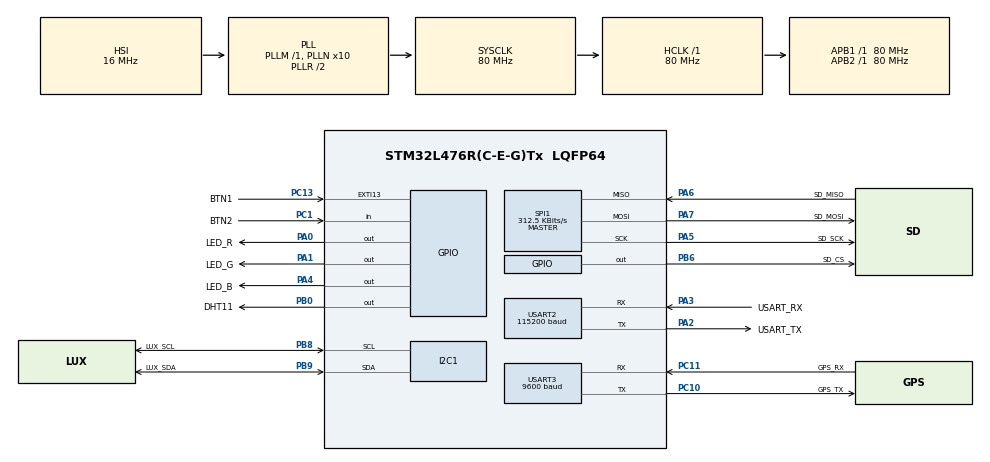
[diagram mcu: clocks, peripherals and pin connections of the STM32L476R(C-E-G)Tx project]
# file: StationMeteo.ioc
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I2C1.Timing=0x10909CEC
Mcu.Family=STM32L4
Mcu.Name=STM32L476R(C-E-G)Tx
Mcu.Package=LQFP64
NVIC.EXTI15_10_IRQn=true\:0\:0\:false\:false\:true\:true\:true\:true
NVIC.PriorityGroup=NVIC_PRIORITYGROUP_4
NVIC.USART3_IRQn=true\:0\:0\:false\:false\:true\:true\:true\:true
PA0.GPIO_Label=LED_R
PA0.PinState=GPIO_PIN_RESET
PA0.Signal=GPIO_Output
PA1.GPIO_Label=LED_G
PA1.PinState=GPIO_PIN_RESET
PA1.Signal=GPIO_Output
PA13\ (JTMS-SWDIO).Mode=Serial_Wire
PA13\ (JTMS-SWDIO).Signal=SYS_JTMS-SWDIO
PA14\ (JTCK-SWCLK).Mode=Serial_Wire
PA14\ (JTCK-SWCLK).Signal=SYS_JTCK-SWCLK
PA2.GPIO_Label=USART_TX
PA2.Mode=Asynchronous
PA2.Signal=USART2_TX
PA3.GPIO_Label=USART_RX
PA3.Mode=Asynchronous
PA3.Signal=USART2_RX
PC1.GPIO_Label=BTN2
PC1.GPIO_PuPd=GPIO_PULLUP
PC1.Signal=GPIO_Input
PA4.GPIO_Label=LED_B
PA4.PinState=GPIO_PIN_RESET
PA4.Signal=GPIO_Output
PA5.GPIO_Label=SD_SCK
PA5.Mode=Full_Duplex_Master
PA5.Signal=SPI1_SCK
PA6.GPIO_Label=SD_MISO
PA6.Mode=Full_Duplex_Master
PA6.Signal=SPI1_MISO
PA7.GPIO_Label=SD_MOSI
PA7.Mode=Full_Duplex_Master
PA7.Signal=SPI1_MOSI
PB0.GPIO_Label=DHT11
PB0.GPIO_PuPd=GPIO_NOPULL
PB0.GPIO_Speed=GPIO_SPEED_FREQ_HIGH
PB0.Signal=GPIO_Output
PB6.GPIO_Label=SD_CS
PB6.GPIO_Speed=GPIO_SPEED_FREQ_HIGH
PB6.PinState=GPIO_PIN_SET
PB6.Signal=GPIO_Output
PB8.GPIO_Label=LUX_SCL
PB8.Mode=I2C
PB8.Signal=I2C1_SCL
PB9.GPIO_Label=LUX_SDA
PB9.Mode=I2C
PB9.Signal=I2C1_SDA
PC10.GPIO_Label=GPS_TX
PC10.Mode=Asynchronous
PC10.Signal=USART3_TX
PC11.GPIO_Label=GPS_RX
PC11.Mode=Asynchronous
PC11.Signal=USART3_RX
PC13.GPIO_Label=BTN1
PC13.GPIO_ModeDefaultEXTI=GPIO_MODE_IT_FALLING
PC13.GPIO_PuPd=GPIO_PULLUP
PC13.Signal=GPXTI13
PC14-OSC32_IN\ (PC14).Mode=LSE-External-Oscillator
PC14-OSC32_IN\ (PC14).Signal=RCC_OSC32_IN
PC15-OSC32_OUT\ (PC15).Mode=LSE-External-Oscillator
PC15-OSC32_OUT\ (PC15).Signal=RCC_OSC32_OUT
ProjectManager.HeapSize=0x200
ProjectManager.StackSize=0x400
ProjectManager.TargetToolchain=CMake
RCC.ADCFreq_Value=64000000
RCC.AHBFreq_Value=80000000
RCC.APB1Freq_Value=80000000
RCC.APB1TimFreq_Value=80000000
RCC.APB2Freq_Value=80000000
RCC.APB2TimFreq_Value=80000000
RCC.CortexFreq_Value=80000000
RCC.HCLKFreq_Value=80000000
RCC.HSE_VALUE=8000000
RCC.HSI_VALUE=16000000
RCC.MSI_VALUE=4000000
RCC.PLLN=10
RCC.PLLSourceVirtual=RCC_PLLSOURCE_HSI
RCC.RTCClockSelection=RCC_RTCCLKSOURCE_LSE
RCC.SYSCLKFreq_VALUE=80000000
RCC.SYSCLKSource=RCC_SYSCLKSOURCE_PLLCLK
RCC.USBFreq_Value=64000000
RCC.VCOOutputFreq_Value=160000000
RTC.Format=RTC_FORMAT_BIN
SPI1.BaudRatePrescaler=SPI_BAUDRATEPRESCALER_256
SPI1.CalculateBaudRate=312.5 KBits/s
SPI1.DataSize=SPI_DATASIZE_8BIT
SPI1.Direction=SPI_DIRECTION_2LINES
SPI1.Mode=SPI_MODE_MASTER
SPI1.VirtualType=VM_MASTER
USART2.BaudRate=115200
USART2.VirtualMode-Asynchronous=VM_ASYNC
USART3.BaudRate=9600
USART3.Parity=PARITY_NONE
USART3.StopBits=STOPBITS_1
USART3.VirtualMode-Asynchronous=VM_ASYNC
USART3.WordLength=WORDLENGTH_8B
VP_FATFS_VS_Generic.Mode=User_defined
VP_RTC_VS_RTC_Activate.Mode=RTC_Enabled
VP_RTC_VS_RTC_Calendar.Mode=RTC_Calendar
board=custom

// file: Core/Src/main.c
/* USER CODE BEGIN Header */
/**
  ******************************************************************************
  * @file           : main.c
  * @brief          : Main program body
  ******************************************************************************
  * @attention
  *
  * Copyright (c) 2026 STMicroelectronics.
  * All rights reserved.
  *
  * This software is licensed under terms that can be found in the LICENSE file
  * in the root directory of this software component.
  * If no LICENSE file comes with this software, it is provided AS-IS.
  *
  ******************************************************************************
  */
/* USER CODE END Header */
#include "main.h"
#include "fatfs.h"

/* USER CODE BEGIN Includes */
#include "led_modes.h"
#include "test_composants.h"

/* USER CODE END Includes */

/* USER CODE BEGIN PD */
/* 1 = test du Serial Monitor (TP 1), 0 = fonctionnement normal (4 modes) */
#define TEST_SERIAL_MONITEUR 0
/* 1 = test du capteur DHT11 sur PB0 (TP 4), 0 = fonctionnement normal */
#define TEST_DHT11 0
/* 1 = test du RTC interne (TP 5), 0 = fonctionnement normal */
#define TEST_RTC 0
/* 1 = test du capteur de luminosité BH1750 en I2C (TP 6), 0 = fonctionnement normal */
#define TEST_BH1750 0
/* 1 = test de la carte SD en SPI + FatFS (TP 7), 0 = fonctionnement normal */
#define TEST_SD 0
/* 1 = test du module GPS sur USART1 D8/D2 (TP 8), 0 = fonctionnement normal */
#define TEST_GPS 0
/* USER CODE END PD */

I2C_HandleTypeDef hi2c1;

RTC_HandleTypeDef hrtc;

SPI_HandleTypeDef hspi1;

UART_HandleTypeDef huart2;
UART_HandleTypeDef huart3;

void SystemClock_Config(void);
static void MX_GPIO_Init(void);
static void MX_I2C1_Init(void);
static void MX_RTC_Init(void);
static void MX_SPI1_Init(void);
static void MX_USART2_UART_Init(void);
static void MX_USART3_UART_Init(void);

int main(void)
{

  /* MCU Configuration--------------------------------------------------------*/

  /* Reset of all peripherals, Initializes the Flash interface and the Systick. */
  HAL_Init();

  /* Configure the system clock */
  SystemClock_Config();

  /* Initialize all configured peripherals */
  MX_GPIO_Init();
  MX_I2C1_Init();
  MX_RTC_Init();
  MX_SPI1_Init();
  MX_USART2_UART_Init();
  MX_USART3_UART_Init();
  MX_FATFS_Init();
  /* USER CODE BEGIN 2 */
  /* Un seul TEST_xxx à 1 = test d'un composant (Core/Src/test_*.c, ne revient jamais) ;
     tous à 0 = station normale (4 modes). */
#if TEST_SERIAL_MONITEUR
  Test_Serial();
#elif TEST_DHT11
  Test_DHT11();
#elif TEST_RTC
  Test_RTC(17, 56, 33, 16, 10, 26); /* heure, min, s, jour, mois, année (26 = 2026), réglée à chaque reset */
#elif TEST_BH1750
  Test_BH1750();
#elif TEST_SD
  Test_SD();
#elif TEST_GPS
  Test_GPS();
#else
  LedModes_Init(); /* LED RGB + 4 modes (boutons B1 et A4) */
#endif

  /* USER CODE END 2 */

  /* Infinite loop */
  while (1)
  {

    /* USER CODE BEGIN 3 */
    LedModes_Loop();
  }
  /* USER CODE END 3 */
}

void SystemClock_Config(void)
{
  RCC_OscInitTypeDef RCC_OscInitStruct = {0};
  RCC_ClkInitTypeDef RCC_ClkInitStruct = {0};

  /** Configure the main internal regulator output voltage
  */
  if (HAL_PWREx_ControlVoltageScaling(PWR_REGULATOR_VOLTAGE_SCALE1) != HAL_OK)
  {
    Error_Handler();
  }

  /** Configure LSE Drive Capability
  */
  HAL_PWR_EnableBkUpAccess();
  __HAL_RCC_LSEDRIVE_CONFIG(RCC_LSEDRIVE_LOW);

  /** Initializes the RCC Oscillators according to the specified parameters
  * in the RCC_OscInitTypeDef structure.
  */
  RCC_OscInitStruct.OscillatorType = RCC_OSCILLATORTYPE_HSI|RCC_OSCILLATORTYPE_LSE;
  RCC_OscInitStruct.LSEState = RCC_LSE_ON;
  RCC_OscInitStruct.HSIState = RCC_HSI_ON;
  RCC_OscInitStruct.HSICalibrationValue = RCC_HSICALIBRATION_DEFAULT;
  RCC_OscInitStruct.PLL.PLLState = RCC_PLL_ON;
  RCC_OscInitStruct.PLL.PLLSource = RCC_PLLSOURCE_HSI;
  RCC_OscInitStruct.PLL.PLLM = 1;
  RCC_OscInitStruct.PLL.PLLN = 10;
  RCC_OscInitStruct.PLL.PLLP = RCC_PLLP_DIV7;
  RCC_OscInitStruct.PLL.PLLQ = RCC_PLLQ_DIV2;
  RCC_OscInitStruct.PLL.PLLR = RCC_PLLR_DIV2;
  if (HAL_RCC_OscConfig(&RCC_OscInitStruct) != HAL_OK)
  {
    Error_Handler();
  }

  /** Initializes the CPU, AHB and APB buses clocks
  */
  RCC_ClkInitStruct.ClockType = RCC_CLOCKTYPE_HCLK|RCC_CLOCKTYPE_SYSCLK
                              |RCC_CLOCKTYPE_PCLK1|RCC_CLOCKTYPE_PCLK2;
  RCC_ClkInitStruct.SYSCLKSource = RCC_SYSCLKSOURCE_PLLCLK;
  RCC_ClkInitStruct.AHBCLKDivider = RCC_SYSCLK_DIV1;
  RCC_ClkInitStruct.APB1CLKDivider = RCC_HCLK_DIV1;
  RCC_ClkInitStruct.APB2CLKDivider = RCC_HCLK_DIV1;

  if (HAL_RCC_ClockConfig(&RCC_ClkInitStruct, FLASH_LATENCY_4) != HAL_OK)
  {
    Error_Handler();
  }
}

static void MX_I2C1_Init(void)
{

  hi2c1.Instance = I2C1;
  hi2c1.Init.Timing = 0x10909CEC;
  hi2c1.Init.OwnAddress1 = 0;
  hi2c1.Init.AddressingMode = I2C_ADDRESSINGMODE_7BIT;
  hi2c1.Init.DualAddressMode = I2C_DUALADDRESS_DISABLE;
  hi2c1.Init.OwnAddress2 = 0;
  hi2c1.Init.OwnAddress2Masks = I2C_OA2_NOMASK;
  hi2c1.Init.GeneralCallMode = I2C_GENERALCALL_DISABLE;
  hi2c1.Init.NoStretchMode = I2C_NOSTRETCH_DISABLE;
  if (HAL_I2C_Init(&hi2c1) != HAL_OK)
  {
    Error_Handler();
  }

  /** Configure Analogue filter
  */
  if (HAL_I2CEx_ConfigAnalogFilter(&hi2c1, I2C_ANALOGFILTER_ENABLE) != HAL_OK)
  {
    Error_Handler();
  }

  /** Configure Digital filter
  */
  if (HAL_I2CEx_ConfigDigitalFilter(&hi2c1, 0) != HAL_OK)
  {
    Error_Handler();
  }

}

static void MX_RTC_Init(void)
{

  RTC_TimeTypeDef sTime = {0};
  RTC_DateTypeDef sDate = {0};

  /** Initialize RTC Only
  */
  hrtc.Instance = RTC;
  hrtc.Init.HourFormat = RTC_HOURFORMAT_24;
  hrtc.Init.AsynchPrediv = 127;
  hrtc.Init.SynchPrediv = 255;
  hrtc.Init.OutPut = RTC_OUTPUT_DISABLE;
  hrtc.Init.OutPutRemap = RTC_OUTPUT_REMAP_NONE;
  hrtc.Init.OutPutPolarity = RTC_OUTPUT_POLARITY_HIGH;
  hrtc.Init.OutPutType = RTC_OUTPUT_TYPE_OPENDRAIN;
  if (HAL_RTC_Init(&hrtc) != HAL_OK)
  {
    Error_Handler();
  }

  /* USER CODE BEGIN Check_RTC_BKUP */
  /* Heure deja reglee (commandes CLOCK/DATE) : ne pas la remettre a zero au reset */
  if (HAL_RTCEx_BKUPRead(&hrtc, RTC_BKP_DR0) == 0x32F2)
  {
    return;
  }

  /* USER CODE END Check_RTC_BKUP */

  /** Initialize RTC and set the Time and Date
  */
  sTime.Hours = 0;
  sTime.Minutes = 0;
  sTime.Seconds = 0;
  sTime.DayLightSaving = RTC_DAYLIGHTSAVING_NONE;
  sTime.StoreOperation = RTC_STOREOPERATION_RESET;
  if (HAL_RTC_SetTime(&hrtc, &sTime, RTC_FORMAT_BIN) != HAL_OK)
  {
    Error_Handler();
  }
  sDate.WeekDay = RTC_WEEKDAY_MONDAY;
  sDate.Month = RTC_MONTH_JANUARY;
  sDate.Date = 1;
  sDate.Year = 0;

  if (HAL_RTC_SetDate(&hrtc, &sDate, RTC_FORMAT_BIN) != HAL_OK)
  {
    Error_Handler();
  }

}

static void MX_SPI1_Init(void)
{

  /* SPI1 parameter configuration*/
  hspi1.Instance = SPI1;
  hspi1.Init.Mode = SPI_MODE_MASTER;
  hspi1.Init.Direction = SPI_DIRECTION_2LINES;
  hspi1.Init.DataSize = SPI_DATASIZE_8BIT;
  hspi1.Init.CLKPolarity = SPI_POLARITY_LOW;
  hspi1.Init.CLKPhase = SPI_PHASE_1EDGE;
  hspi1.Init.NSS = SPI_NSS_SOFT;
  hspi1.Init.BaudRatePrescaler = SPI_BAUDRATEPRESCALER_256;
  hspi1.Init.FirstBit = SPI_FIRSTBIT_MSB;
  hspi1.Init.TIMode = SPI_TIMODE_DISABLE;
  hspi1.Init.CRCCalculation = SPI_CRCCALCULATION_DISABLE;
  hspi1.Init.CRCPolynomial = 7;
  hspi1.Init.CRCLength = SPI_CRC_LENGTH_DATASIZE;
  hspi1.Init.NSSPMode = SPI_NSS_PULSE_ENABLE;
  if (HAL_SPI_Init(&hspi1) != HAL_OK)
  {
    Error_Handler();
  }

}

static void MX_USART2_UART_Init(void)
{

  huart2.Instance = USART2;
  huart2.Init.BaudRate = 115200;
  huart2.Init.WordLength = UART_WORDLENGTH_8B;
  huart2.Init.StopBits = UART_STOPBITS_1;
  huart2.Init.Parity = UART_PARITY_NONE;
  huart2.Init.Mode = UART_MODE_TX_RX;
  huart2.Init.HwFlowCtl = UART_HWCONTROL_NONE;
  huart2.Init.OverSampling = UART_OVERSAMPLING_16;
  huart2.Init.OneBitSampling = UART_ONE_BIT_SAMPLE_DISABLE;
  huart2.AdvancedInit.AdvFeatureInit = UART_ADVFEATURE_NO_INIT;
  if (HAL_UART_Init(&huart2) != HAL_OK)
  {
    Error_Handler();
  }

}

static void MX_USART3_UART_Init(void)
{

  huart3.Instance = GPS_USART; /* USART1 (D8/D2), voir main.h */
  huart3.Init.BaudRate = 9600;
  huart3.Init.WordLength = UART_WORDLENGTH_8B;
  huart3.Init.StopBits = UART_STOPBITS_1;
  huart3.Init.Parity = UART_PARITY_NONE;
  huart3.Init.Mode = UART_MODE_TX_RX;
  huart3.Init.HwFlowCtl = UART_HWCONTROL_NONE;
  huart3.Init.OverSampling = UART_OVERSAMPLING_16;
  huart3.Init.OneBitSampling = UART_ONE_BIT_SAMPLE_DISABLE;
  huart3.AdvancedInit.AdvFeatureInit = UART_ADVFEATURE_NO_INIT;
  if (HAL_UART_Init(&huart3) != HAL_OK)
  {
    Error_Handler();
  }

}

static void MX_GPIO_Init(void)
{
  GPIO_InitTypeDef GPIO_InitStruct = {0};

  /* GPIO Ports Clock Enable */
  __HAL_RCC_GPIOC_CLK_ENABLE();
  __HAL_RCC_GPIOA_CLK_ENABLE();
  __HAL_RCC_GPIOB_CLK_ENABLE();

  /*Configure GPIO pin Output Level */
  HAL_GPIO_WritePin(GPIOA, LED_R_Pin|LED_G_Pin|LED_B_Pin, GPIO_PIN_RESET);

  /*Configure GPIO pin Output Level */
  HAL_GPIO_WritePin(DHT11_GPIO_Port, DHT11_Pin, GPIO_PIN_RESET);

  /*Configure GPIO pin Output Level */
  HAL_GPIO_WritePin(SD_CS_GPIO_Port, SD_CS_Pin, GPIO_PIN_SET);

  /*Configure GPIO pin : BTN1_Pin */
  GPIO_InitStruct.Pin = BTN1_Pin;
  GPIO_InitStruct.Mode = GPIO_MODE_IT_FALLING;
  GPIO_InitStruct.Pull = GPIO_PULLUP;
  HAL_GPIO_Init(BTN1_GPIO_Port, &GPIO_InitStruct);

  /*Configure GPIO pin : BTN2_Pin */
  GPIO_InitStruct.Pin = BTN2_Pin;
  GPIO_InitStruct.Mode = GPIO_MODE_INPUT;
  GPIO_InitStruct.Pull = GPIO_PULLUP;
  HAL_GPIO_Init(BTN2_GPIO_Port, &GPIO_InitStruct);

  /*Configure GPIO pins : LED_R_Pin LED_G_Pin LED_B_Pin */
  GPIO_InitStruct.Pin = LED_R_Pin|LED_G_Pin|LED_B_Pin;
  GPIO_InitStruct.Mode = GPIO_MODE_OUTPUT_PP;
  GPIO_InitStruct.Pull = GPIO_NOPULL;
  GPIO_InitStruct.Speed = GPIO_SPEED_FREQ_LOW;
  HAL_GPIO_Init(GPIOA, &GPIO_InitStruct);

  /*Configure GPIO pins : DHT11_Pin SD_CS_Pin */
  GPIO_InitStruct.Pin = DHT11_Pin|SD_CS_Pin;
  GPIO_InitStruct.Mode = GPIO_MODE_OUTPUT_PP;
  GPIO_InitStruct.Pull = GPIO_NOPULL;
  GPIO_InitStruct.Speed = GPIO_SPEED_FREQ_HIGH;
  HAL_GPIO_Init(GPIOB, &GPIO_InitStruct);

  /* EXTI interrupt init*/
  HAL_NVIC_SetPriority(EXTI15_10_IRQn, 0, 0);
  HAL_NVIC_EnableIRQ(EXTI15_10_IRQn);

}

/* USER CODE BEGIN 4 */
/* printf -> port série du ST-Link (USART2, 115200 bauds) */
int __io_putchar(int ch)
{
  uint8_t c = (uint8_t)ch;
  HAL_UART_Transmit(&huart2, &c, 1, 10);
  return ch;
}

/* USER CODE END 4 */

void Error_Handler(void)
{
  __disable_irq();
  while (1)
  {
  }
}
